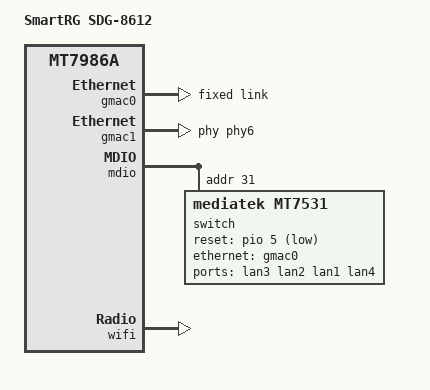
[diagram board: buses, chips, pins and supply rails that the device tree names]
// SPDX-License-Identifier: (GPL-2.0 OR MIT)
/*
 * Copyright (C) 2022 SmartRG Inc.
 * Author: Chad Monroe <chad.monroe@smartrg.com>
 */

#include "mt7986a-smartrg-bonanza-peak.dtsi"

/ {
	model = "SmartRG SDG-8612";
	compatible = "smartrg,sdg-8612", "mediatek,mt7986a";
};

&gmac0 {
	fixed-link {
		speed = <2500>;
		full-duplex;
		pause;
	};
};

&gmac1 {
	phy-handle = <&phy6>;
};

&mdio {
	switch: switch@1f {
		compatible = "mediatek,mt7531";
		reg = <31>;
		reset-gpios = <&pio 5 GPIO_ACTIVE_LOW>;

		ports {
			#address-cells = <1>;
			#size-cells = <0>;

			port@1 {
				reg = <1>;
				label = "lan3";
			};

			port@2 {
				reg = <2>;
				label = "lan2";
			};

			port@3 {
				reg = <3>;
				label = "lan1";
			};

			port5: port@5 {
				reg = <5>;
				label = "lan4";

				phy-mode = "2500base-x";
				phy-handle = <&phy5>;
			};

			port@6 {
				reg = <6>;
				ethernet = <&gmac0>;
				phy-mode = "2500base-x";

				fixed-link {
					speed = <2500>;
					full-duplex;
					pause;
				};
			};
		};
	};
};

&wifi {
	ieee80211-freq-limit = <2400000 2500000>, <5170000 5835000>;
};
